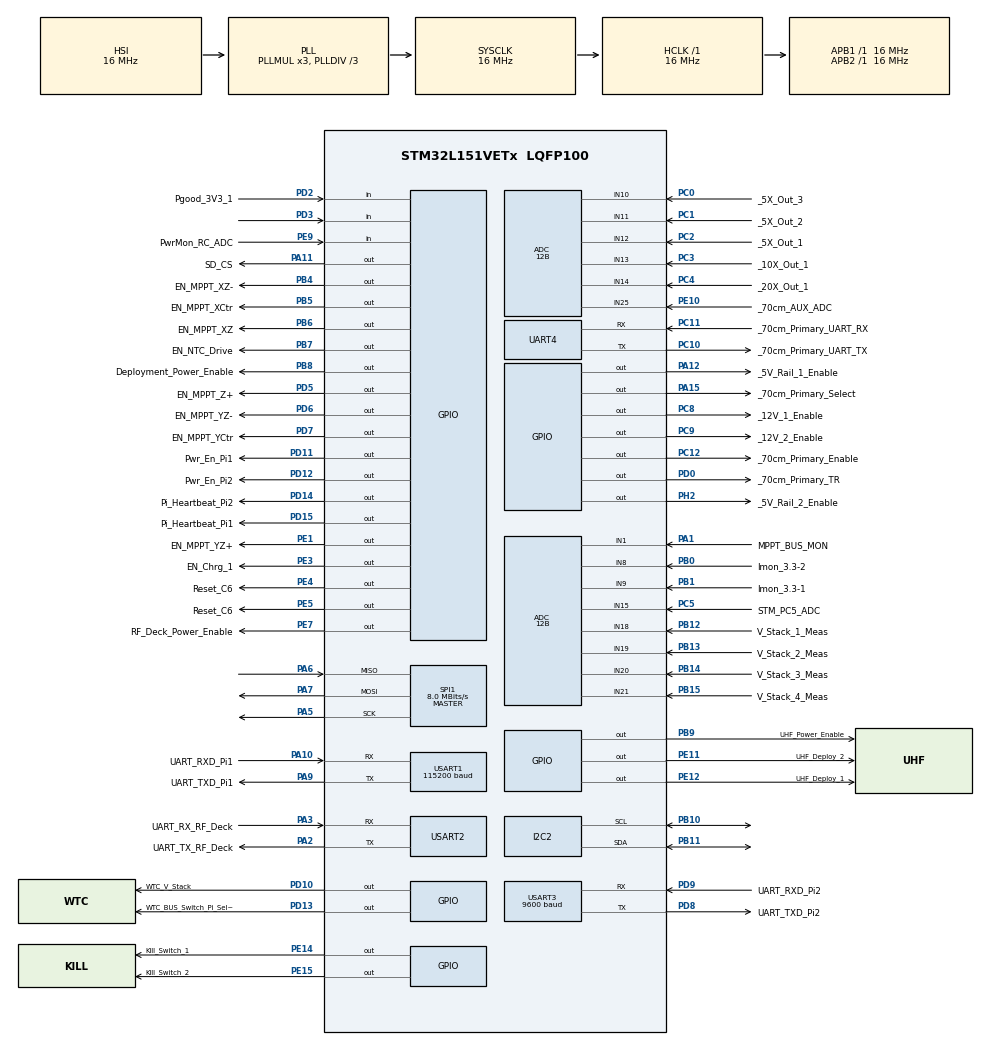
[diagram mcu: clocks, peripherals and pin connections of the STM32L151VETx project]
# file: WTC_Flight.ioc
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ADC.Channel-0\#ChannelRegularConversion=ADC_CHANNEL_10
ADC.ChannelsBank=ADC_CHANNELS_BANK_A
ADC.ClockPrescaler=ADC_CLOCK_ASYNC_DIV1
ADC.ContinuousConvMode=DISABLE
ADC.DMAContinuousRequests=DISABLE
ADC.DataAlign=ADC_DATAALIGN_RIGHT
ADC.DiscontinuousConvMode=DISABLE
ADC.EOCSelection=ADC_EOC_SEQ_CONV
ADC.EnableAnalogWatchDog=false
ADC.ExternalTrigConv=ADC_SOFTWARE_START
ADC.ExternalTrigConvEdge=ADC_EXTERNALTRIGCONVEDGE_NONE
ADC.InjNumberOfConversion=0
ADC.LowPowerAutoPowerOff=ADC_AUTOPOWEROFF_DISABLE
ADC.LowPowerAutoWait=ADC_AUTOWAIT_DISABLE
ADC.NbrOfConversion=1
ADC.NbrOfConversionFlag=1
ADC.Rank-0\#ChannelRegularConversion=1
ADC.Resolution=ADC_RESOLUTION_12B
ADC.SamplingTime-0\#ChannelRegularConversion=ADC_SAMPLETIME_4CYCLES
ADC.ScanConvMode=ADC_SCAN_DISABLE
Dma.Request0=USART1_RX
Dma.Request1=USART1_TX
Dma.Request2=UART4_RX
Dma.Request3=UART4_TX
Dma.UART4_RX.2.Direction=DMA_PERIPH_TO_MEMORY
Dma.UART4_RX.2.Instance=DMA2_Channel3
Dma.UART4_RX.2.MemDataAlignment=DMA_MDATAALIGN_BYTE
Dma.UART4_RX.2.MemInc=DMA_MINC_ENABLE
Dma.UART4_RX.2.Mode=DMA_NORMAL
Dma.UART4_RX.2.PeriphDataAlignment=DMA_PDATAALIGN_BYTE
Dma.UART4_RX.2.PeriphInc=DMA_PINC_DISABLE
Dma.UART4_RX.2.Priority=DMA_PRIORITY_HIGH
Dma.UART4_TX.3.Direction=DMA_MEMORY_TO_PERIPH
Dma.UART4_TX.3.Instance=DMA2_Channel5
Dma.UART4_TX.3.MemDataAlignment=DMA_MDATAALIGN_BYTE
Dma.UART4_TX.3.MemInc=DMA_MINC_ENABLE
Dma.UART4_TX.3.Mode=DMA_NORMAL
Dma.UART4_TX.3.PeriphDataAlignment=DMA_PDATAALIGN_BYTE
Dma.UART4_TX.3.PeriphInc=DMA_PINC_DISABLE
Dma.UART4_TX.3.Priority=DMA_PRIORITY_HIGH
Dma.USART1_RX.0.Direction=DMA_PERIPH_TO_MEMORY
Dma.USART1_RX.0.Instance=DMA1_Channel5
Dma.USART1_RX.0.MemDataAlignment=DMA_MDATAALIGN_BYTE
Dma.USART1_RX.0.MemInc=DMA_MINC_ENABLE
Dma.USART1_RX.0.Mode=DMA_NORMAL
Dma.USART1_RX.0.PeriphDataAlignment=DMA_PDATAALIGN_BYTE
Dma.USART1_RX.0.PeriphInc=DMA_PINC_DISABLE
Dma.USART1_RX.0.Priority=DMA_PRIORITY_LOW
Dma.USART1_TX.1.Direction=DMA_MEMORY_TO_PERIPH
Dma.USART1_TX.1.Instance=DMA1_Channel4
Dma.USART1_TX.1.MemDataAlignment=DMA_MDATAALIGN_BYTE
Dma.USART1_TX.1.MemInc=DMA_MINC_ENABLE
Dma.USART1_TX.1.Mode=DMA_NORMAL
Dma.USART1_TX.1.PeriphDataAlignment=DMA_PDATAALIGN_BYTE
Dma.USART1_TX.1.PeriphInc=DMA_PINC_DISABLE
Dma.USART1_TX.1.Priority=DMA_PRIORITY_LOW
Mcu.Family=STM32L1
Mcu.Name=STM32L151VETx
Mcu.Package=LQFP100
NVIC.DMA1_Channel4_IRQn=true\:0\:0\:false\:false\:true\:false
NVIC.DMA1_Channel5_IRQn=true\:0\:0\:false\:false\:true\:false
NVIC.DMA2_Channel3_IRQn=true\:0\:0\:false\:false\:true\:false
NVIC.DMA2_Channel5_IRQn=true\:0\:0\:false\:false\:true\:false
NVIC.PriorityGroup=NVIC_PRIORITYGROUP_4
NVIC.RTC_Alarm_IRQn=true\:0\:0\:false\:false\:true\:true
NVIC.UART4_IRQn=true\:0\:0\:false\:false\:true\:true
NVIC.USART1_IRQn=true\:0\:0\:false\:false\:true\:true
NVIC.USART3_IRQn=true\:0\:0\:false\:false\:true\:true
PA1.GPIO_Label=MPPT_BUS_MON
PA1.Mode=IN1
PA1.Signal=ADC_IN1
PA10.GPIO_Label=UART_RXD_Pi1
PA10.Mode=Asynchronous
PA10.Signal=USART1_RX
PA11.GPIO_Label=SD_CS
PA11.Signal=GPIO_Output
PA12.GPIO_Label=_5V_Rail_1_Enable
PA12.Signal=GPIO_Output
PA15.GPIO_Label=_70cm_Primary_Select
PA15.Signal=GPIO_Output
PA2.GPIO_Label=UART_TX_RF_Deck
PA2.Mode=Asynchronous
PA2.Signal=USART2_TX
PA3.GPIO_Label=UART_RX_RF_Deck
PA3.Mode=Asynchronous
PA3.Signal=USART2_RX
PA5.Mode=Full_Duplex_Master
PA5.Signal=SPI1_SCK
PA6.GPIO_PuPd=GPIO_PULLUP
PA6.Mode=Full_Duplex_Master
PA6.Signal=SPI1_MISO
PA7.Mode=Full_Duplex_Master
PA7.Signal=SPI1_MOSI
PA9.GPIO_Label=UART_TXD_Pi1
PA9.Mode=Asynchronous
PA9.Signal=USART1_TX
PB0.GPIO_Label=lmon_3.3-2
PB0.Mode=IN8
PB0.Signal=ADC_IN8
PB1.GPIO_Label=lmon_3.3-1
PB1.Mode=IN9
PB1.Signal=ADC_IN9
PB10.Mode=I2C
PB10.Signal=I2C2_SCL
PB11.Mode=I2C
PB11.Signal=I2C2_SDA
PB12.GPIO_Label=V_Stack_1_Meas
PB12.Mode=IN18
PB12.Signal=ADC_IN18
PB13.GPIO_Label=V_Stack_2_Meas
PB13.Mode=IN19
PB13.Signal=ADC_IN19
PB14.GPIO_Label=V_Stack_3_Meas
PB14.Mode=IN20
PB14.Signal=ADC_IN20
PB15.GPIO_Label=V_Stack_4_Meas
PB15.Mode=IN21
PB15.Signal=ADC_IN21
PB4.GPIO_Label=EN_MPPT_XZ-
PB4.Signal=GPIO_Output
PB5.GPIO_Label=EN_MPPT_XCtr
PB5.Signal=GPIO_Output
PB6.GPIO_Label=EN_MPPT_XZ
PB6.Signal=GPIO_Output
PB7.GPIO_Label=EN_NTC_Drive
PB7.Signal=GPIO_Output
PB8.GPIO_Label=Deployment_Power_Enable
PB8.Signal=GPIO_Output
PB9.GPIO_Label=UHF_Power_Enable
PB9.Signal=GPIO_Output
PC0.GPIO_Label=_5X_Out_3
PC0.Mode=IN10
PC0.Signal=ADC_IN10
PC1.GPIO_Label=_5X_Out_2
PC1.Mode=IN11
PC1.Signal=ADC_IN11
PC10.GPIO_Label=_70cm_Primary_UART_TX
PC10.Mode=Asynchronous
PC10.Signal=UART4_TX
PC11.GPIO_Label=_70cm_Primary_UART_RX
PC11.Mode=Asynchronous
PC11.Signal=UART4_RX
PC12.GPIO_Label=_70cm_Primary_Enable
PC12.Signal=GPIO_Output
PC14-OSC32_IN.Mode=LSE-External-Oscillator
PC14-OSC32_IN.Signal=RCC_OSC32_IN
PC15-OSC32_OUT.Mode=LSE-External-Oscillator
PC15-OSC32_OUT.Signal=RCC_OSC32_OUT
PC2.GPIO_Label=_5X_Out_1
PC2.Mode=IN12
PC2.Signal=ADC_IN12
PC3.GPIO_Label=_10X_Out_1
PC3.Mode=IN13
PC3.Signal=ADC_IN13
PC4.GPIO_Label=_20X_Out_1
PC4.Mode=IN14
PC4.Signal=ADC_IN14
PC5.GPIO_Label=STM_PC5_ADC
PC5.Mode=IN15
PC5.Signal=ADC_IN15
PC8.GPIO_Label=_12V_1_Enable
PC8.Signal=GPIO_Output
PC9.GPIO_Label=_12V_2_Enable
PC9.Signal=GPIO_Output
PD0.GPIO_Label=_70cm_Primary_TR
PD0.Signal=GPIO_Output
PD10.GPIO_Label=WTC_V_Stack
PD10.Signal=GPIO_Output
PD11.GPIO_Label=Pwr_En_Pi1
PD11.Signal=GPIO_Output
PD12.GPIO_Label=Pwr_En_Pi2
PD12.Signal=GPIO_Output
PD13.GPIO_Label=WTC_BUS_Switch_Pi_Select
PD13.Signal=GPIO_Output
PD14.GPIO_Label=Pi_Heartbeat_Pi2
PD14.Signal=GPIO_Output
PD15.GPIO_Label=Pi_Heartbeat_Pi1
PD15.Signal=GPIO_Output
PD2.GPIO_Label=Pgood_3V3_1
PD2.Signal=GPIO_Input
PD3.Signal=GPIO_Input
PD5.GPIO_Label=EN_MPPT_Z+
PD5.Signal=GPIO_Output
PD6.GPIO_Label=EN_MPPT_YZ-
PD6.Signal=GPIO_Output
PD7.GPIO_Label=EN_MPPT_YCtr
PD7.Signal=GPIO_Output
PD8.GPIO_Label=UART_TXD_Pi2
PD8.Mode=Asynchronous
PD8.Signal=USART3_TX
PD9.GPIO_Label=UART_RXD_Pi2
PD9.Mode=Asynchronous
PD9.Signal=USART3_RX
PE1.GPIO_Label=EN_MPPT_YZ+
PE1.Signal=GPIO_Output
PE10.GPIO_Label=_70cm_AUX_ADC
PE10.Mode=IN25
PE10.Signal=ADC_IN25
PE11.GPIO_Label=UHF_Deploy_2
PE11.Signal=GPIO_Output
PE12.GPIO_Label=UHF_Deploy_1
PE12.Signal=GPIO_Output
PE14.GPIO_Label=Kill_Switch_1
PE14.Signal=GPIO_Output
PE15.GPIO_Label=Kill_Switch_2
PE15.Signal=GPIO_Output
PE3.GPIO_Label=EN_Chrg_1
PE3.Signal=GPIO_Output
PE4.GPIO_Label=Reset_C6
PE4.Signal=GPIO_Output
PE5.GPIO_Label=Reset_C6
PE5.Signal=GPIO_Output
PE7.GPIO_Label=RF_Deck_Power_Enable
PE7.Signal=GPIO_Output
PE9.GPIO_Label=PwrMon_RC_ADC
PE9.Signal=GPIO_Input
PH2.GPIO_Label=_5V_Rail_2_Enable
PH2.Signal=GPIO_Output
ProjectManager.HeapSize=0x200
ProjectManager.StackSize=0x400
ProjectManager.TargetToolchain=TrueSTUDIO
RCC.AHBFreq_Value=16000000
RCC.APB1Freq_Value=16000000
RCC.APB1TimFreq_Value=16000000
RCC.APB2Freq_Value=16000000
RCC.APB2TimFreq_Value=16000000
RCC.HCLKFreq_Value=16000000
RCC.HSE_VALUE=24000000
RCC.HSI_VALUE=16000000
RCC.MSI_VALUE=2097000
RCC.PLLDIV=RCC_PLL_DIV3
RCC.RTCClockSelection=RCC_RTCCLKSOURCE_LSI
RCC.RTCClockSelectionVirtual=RCC_RTCCLKSOURCE_LSE
RCC.SYSCLKFreq_VALUE=16000000
RCC.SYSCLKSource=RCC_SYSCLKSOURCE_PLLCLK
RCC.VCOOutputFreq_Value=48000000
RTC.Alarm-Alarm\ A=RTC_ALARM_A
RTC.AlarmDateWeekDaySel-Alarm\ A=RTC_ALARMDATEWEEKDAYSEL_WEEKDAY
RTC.AlarmMaskDateWeekDay-Alarm\ A=RTC_ALARMMASK_DATEWEEKDAY
RTC.AlarmMaskHours-Alarm\ A=RTC_ALARMMASK_HOURS
RTC.AlarmMaskMinutes-Alarm\ A=RTC_ALARMMASK_MINUTES
RTC.AlarmMaskSeconds-Alarm\ A=RTC_ALARMMASK_SECONDS
RTC.AlarmSubSecondMask-Alarm\ A=RTC_ALARMSUBSECONDMASK_ALL
RTC.Date=24
RTC.Hours=16
RTC.Minutes=30
RTC.Minutes_A-Alarm\ A=0
RTC.Month=RTC_MONTH_APRIL
RTC.Seconds=0
RTC.Seconds_A-Alarm\ A=0
RTC.WeekDay=RTC_WEEKDAY_TUESDAY
RTC.Year=18
SPI1.CalculateBaudRate=8.0 MBits/s
SPI1.Direction=SPI_DIRECTION_2LINES
SPI1.Mode=SPI_MODE_MASTER
SPI1.VirtualType=VM_MASTER
UART4.VirtualMode=Asynchronous
USART1.BaudRate=115200
USART1.VirtualMode=VM_ASYNC
USART2.VirtualMode=VM_ASYNC
USART3.BaudRate=9600
USART3.VirtualMode=VM_ASYNC
VP_FATFS_VS_Generic.Mode=User_defined
VP_RTC_VS_RTC_Activate.Mode=RTC_Enabled
VP_RTC_VS_RTC_Alarm_A_Intern.Mode=Alarm A
VP_RTC_VS_RTC_Calendar.Mode=RTC_Calendar
board=WTC_Flight

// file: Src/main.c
/**
 ******************************************************************************
 * @file           : main.c
 * @brief          : Main program body
 ******************************************************************************
 * This notice applies to any and all portions of this file
 * that are not between comment pairs USER CODE BEGIN and
 * USER CODE END. Other portions of this file, whether
 * inserted by the user or by software development tools
 * are owned by their respective copyright owners.
 *
 * Copyright (c) 2018 STMicroelectronics International N.V.
 * All rights reserved.
 *
 * Redistribution and use in source and binary forms, with or without
 * modification, are permitted, provided that the following conditions are met:
 *
 * 1. Redistribution of source code must retain the above copyright notice,
 *    this list of conditions and the following disclaimer.
 * 2. Redistributions in binary form must reproduce the above copyright notice,
 *    this list of conditions and the following disclaimer in the documentation
 *    and/or other materials provided with the distribution.
 * 3. Neither the name of STMicroelectronics nor the names of other
 *    contributors to this software may be used to endorse or promote products
 *    derived from this software without specific written permission.
 * 4. This software, including modifications and/or derivative works of this
 *    software, must execute solely and exclusively on microcontroller or
 *    microprocessor devices manufactured by or for STMicroelectronics.
 * 5. Redistribution and use of this software other than as permitted under
 *    this license is void and will automatically terminate your rights under
 *    this license.
 *
 * THIS SOFTWARE IS PROVIDED BY STMICROELECTRONICS AND CONTRIBUTORS "AS IS"
 * AND ANY EXPRESS, IMPLIED OR STATUTORY WARRANTIES, INCLUDING, BUT NOT
 * LIMITED TO, THE IMPLIED WARRANTIES OF MERCHANTABILITY, FITNESS FOR A
 * PARTICULAR PURPOSE AND NON-INFRINGEMENT OF THIRD PARTY INTELLECTUAL PROPERTY
 * RIGHTS ARE DISCLAIMED TO THE FULLEST EXTENT PERMITTED BY LAW. IN NO EVENT
 * SHALL STMICROELECTRONICS OR CONTRIBUTORS BE LIABLE FOR ANY DIRECT, INDIRECT,
 * INCIDENTAL, SPECIAL, EXEMPLARY, OR CONSEQUENTIAL DAMAGES (INCLUDING, BUT NOT
 * LIMITED TO, PROCUREMENT OF SUBSTITUTE GOODS OR SERVICES; LOSS OF USE, DATA,
 * OR PROFITS; OR BUSINESS INTERRUPTION) HOWEVER CAUSED AND ON ANY THEORY OF
 * LIABILITY, WHETHER IN CONTRACT, STRICT LIABILITY, OR TORT (INCLUDING
 * NEGLIGENCE OR OTHERWISE) ARISING IN ANY WAY OUT OF THE USE OF THIS SOFTWARE,
 * EVEN IF ADVISED OF THE POSSIBILITY OF SUCH DAMAGE.
 *
 ******************************************************************************
 */
#include "main.h"
#include "stm32l1xx_hal.h"
#include "adc.h"
#include "dma.h"
#include "fatfs.h"
#include "i2c.h"
#include "rtc.h"
#include "spi.h"
#include "usart.h"
#include "gpio.h"

/* USER CODE BEGIN Includes */
#include <stdlib.h>
#include <string.h>
#include <stdio.h>
#include <stdbool.h>
#include <math.h>
#include <myadc/myadc.h>
#include <myprintf/myprintf.h>
#include <myrtc/myrtc.h>
#include "LTC2991/LTC2991.h"
#include "UART_IRQ/UART_IRQ.h"
#include "command/command.h"
#include "memoryMap/memoryMap.h"
#include "stateMachine/stateMachine.h"
#include "PI_Control/SS_Pi_Comms.h"
#include "PI_Control/commands.h"
#include "stateMachine/comms.h"
#include "mygpio/mygpio.h"

//huart4 is the 70cm primary

/* USER CODE END Includes */

/* USER CODE BEGIN PV */
/* Private variables ---------------------------------------------------------*/
I2C_HandleTypeDef hi2c1;
//RTC_TimeTypeDef sTime;
//RTC_DateTypeDef sDate;
//RTC_AlarmTypeDef sAlarm;
__IO ITStatus UartReady = RESET;
/* USER CODE END PV */

void SystemClock_Config(void);

/* USER CODE BEGIN PFP */
/* Private function prototypes -----------------------------------------------*/

/* USER CODE END PFP */

/* USER CODE BEGIN 0 */
int fgetc(FILE *f) {
	char ch;
	while (__HAL_UART_GET_FLAG(&DEBUG_UART, UART_FLAG_RXNE) == RESET)
		;
	HAL_UART_Receive(&DEBUG_UART, (uint8_t*) &ch, 1, 0xFFFF);
	return ch;
}

size_t __read(int Handle, unsigned char * buf, size_t count) {
	while (__HAL_UART_GET_FLAG(&DEBUG_UART, UART_FLAG_RXNE) == RESET)
		;
	HAL_UART_Receive(&DEBUG_UART, (uint8_t *) buf, count, 0xFFFF);
	return count;
}

//"compiler optimization stuff" - clayton
//"i didn't write it though" - also clayton
#pragma GCC push_options
#pragma GCC optimize ("O3")
#pragma GCC pop_options

void dprint(char* str) {
	int len = strlen(str), i;
	for (i = 0; i < len; i++) {
		ITM_SendChar((uint32_t) str[i]);
		HAL_Delay(500);
	}
}

//uint8_t aRxBuffer[20];
uint8_t aTxStartMessage[] =
		"\n\r ****UART-Hyperterminal communication based on DMA****\n\r Enter 10 characters using keyboard :\n\r";
uint8_t aTxEndMessage[] = "\n\r Example Finished\n\r";
uint8_t atick[] = "\n\r TICK \n\r";

//int8_t packetSize_IT = 128;
//uint8_t aRxBuffer[packetSize_IT];
uint8_t prompt[100] = { };

void HAL_UART_RxCpltCallback(UART_HandleTypeDef *huart) {
//	/* Turn LED2 on: Transfer in reception process is correct */
//	HAL_GPIO_WritePin(_12V_1_Enable_GPIO_Port, _12V_1_Enable_Pin, GPIO_PIN_SET);
//
////	sprintf(prompt, "rdone");
//	HAL_UART_Transmit(&huart1, (uint8_t *) aRxBuffer, (uint16_t) strlen(aRxBuffer), 0xFFFF);
//
//	//check if pi interrupt
//	if (huart == &UART_Pi1 || huart == &UART_Pi2) {
//		;
//	}

	putS(&DEBUG_UART, "got interrupt\r\n");
	UartReady = SET;

	if (huart == &DEBUG_UART) {
		if (HAL_UART_Receive_DMA(huart, (uint8_t *) DMABUFFER, packetSize_IT) != HAL_OK) {
			Error_Handler();
		}
		//print back to console
		sprintf((char*)prompt, "%s\r\n", DMABUFFER);
		putS(&huart4, (char*)prompt);
		//make sure packet is readable
		commsFromGround((uint8_t*)DMABUFFER);
	}
}

void HAL_UART_TxCpltCallback(UART_HandleTypeDef *huart) {

//	//check if pi interrupt
//	if (huart == &UART_Pi1 || huart == &UART_Pi2) {
//		;
//	}
	putS(&DEBUG_UART, "sent interrupt\r\n");
	UartReady = SET;
}

//void HAL_RTC_AlarmIRQHandler(RTC_HandleTypeDef *hrtc) {
//	RTC_TimeShow(prompt);
//	putS(&huart4, prompt);
//}
/**
 * @brief  Alarm callback
 * @param  hrtc : RTC handle
 * @retval None
 */
//void HAL_RTC_AlarmAEventCallback(RTC_HandleTypeDef *hrtc) {
//
//	//change alarm A to next alarm??
//
//	//reset time and date to allow alarmA to be used again
//	RTC_DateTypeDef sdatestructureget;
//	RTC_TimeTypeDef stimestructureget;
//	HAL_RTC_GetTime(hrtc, &stimestructureget, RTC_FORMAT_BIN);
//	HAL_RTC_GetDate(hrtc, &sdatestructureget, RTC_FORMAT_BIN);
//
//	char goo[10] ={};
//	sprintf(goo, "5V %.2f \r\n",10*adcReadSingle(&hadc, 14));
//	adcReadSingle(&hadc, ADC_Channel_70cm_AUX);
////	putS(&DEBUG_UART, goo);
//	//HAL_GPIO_TogglePin(Deployment_Power_Enable_GPIO_Port, Deployment_Power_Enable_Pin);
//	// RTC delay 30min
////	//*** working
////		RTC_DateTypeDef sdatestructureget;
////		RTC_TimeTypeDef stimestructureget;
////		HAL_RTC_GetTime(hrtc, &stimestructureget, RTC_FORMAT_BIN);
////		HAL_RTC_GetDate(hrtc, &sdatestructureget, RTC_FORMAT_BIN);
////
////
//
////HAL_RTC_GetAlarm(hrtc, &fuk, RTC_ALARM_A, RTC_FORMAT_BCD);
////
////		sprintf((char*) prompt, "tick(sec) %02d:%02d:%02d\r\n", stimestructureget.Hours,
////				stimestructureget.Minutes, stimestructureget.Seconds);
////		putS(&huart4, prompt);
////	//working *** //
////	RTC_TimeShow(hrtc, prompt);
////	RTC_TimeShow(prompt);
////	putS(&huart4, (char *) prompt);
////	HAL_GPIO_TogglePin(Deployment_Power_Enable_GPIO_Port, Deployment_Power_Enable_Pin);
////	putS(&huart4,  atick);
//}
/* USER CODE END 0 */

int main(void) {
	/* USER CODE BEGIN 1 */

//	DeployStatusStruct my_deployStruct;
//	DeployStatusStruct *deployStruct = &my_deployStruct;
//	BatteryStatusStruct my_batteryStruct;
//	BatteryStatusStruct *batteryStruct = &my_batteryStruct;
//	WTCStatusStruct my_wtc;
//	WTCStatusStruct *wtc = &my_wtc;
//	DeployStatusStruct deployStruct;
//	BatteryStatusStruct batteryStruct;
//	WTCStatusStruct wtc;
	/* USER CODE END 1 */

	/* MCU Configuration----------------------------------------------------------*/

	/* Reset of all peripherals, Initializes the Flash interface and the Systick. */
	HAL_Init();

	/* USER CODE BEGIN Init */

	HAL_StatusTypeDef hal = HAL_Init();
	if (hal == HAL_ERROR) {

	}

	/* USER CODE END Init */

	/* Configure the system clock */
	SystemClock_Config();

	/* Initialize all configured peripherals */
	MX_GPIO_Init();
	MX_DMA_Init();
	MX_UART4_Init();
	MX_USART1_UART_Init();
	MX_USART2_UART_Init();
	MX_I2C2_Init();
	MX_ADC_Init();
	MX_USART3_UART_Init();
	MX_RTC_Init();
	MX_SPI1_Init();
	MX_FATFS_Init();
	/* USER CODE BEGIN 2 */

	uint8_t packet[128] =
			"|-----------32-BYTES-----------||-----------32-BYTES-----------||-----------32-BYTES-----------||-----------32-BYTES-----------|";
//	uint8_t attempt = 0;
	while (1) {
//		char pdata[20] = "";
		//attempt++;
		//testPiComms(attempt, &huart2, &UART_Pi1);
//		putS(&huart1, "1");
//		HAL_Delay(100);
//		putS(&huart2, "2");
//		HAL_Delay(100);
//		putS(&huart3, "3");;
//		HAL_Delay(100);
//		putS(&huart4, "4");
//		HAL_Delay(100);
//		HAL_UART_Transmit(&UART_Pi1, "OK", 2,1000);
//		//HAL_UART_Receive(&UART_Pi1, pdata, 3,1000);
//		getS(&huart1, pdata,2);
//		HAL_UART_Transmit(&UART_Pi1, "OK", 2,1000);
//		getS(&huart1, pdata,2);
//		HAL_UART_Transmit(&huart2, pdata, 3,1000);
		HAL_Delay(200);
		//SS_GndToPi(1, packet, 0, 0);

		SS_PiToSD(1, packet, 0, 0, 0);
	}

	while (0) {
		HAL_GPIO_WritePin(UHF_Power_Enable_GPIO_Port, UHF_Power_Enable_Pin, GPIO_PIN_SET);
		HAL_Delay(200);
		HAL_GPIO_WritePin(_5V_Rail_1_Enable_GPIO_Port, _5V_Rail_1_Enable_Pin, GPIO_PIN_SET);
		HAL_Delay(200);
		HAL_GPIO_WritePin(_5V_Rail_1_Enable_GPIO_Port, _5V_Rail_2_Enable_Pin, GPIO_PIN_SET);
		HAL_Delay(200);
		//            char *commands[] = {
		//                    "\rES+R2200\r", //
		//                    "\rES+W22003603\r",   //
		//                    "\rES+R2200\r",      //
		//                    "\rES+R2201\r",      //
		//                    "\rES+W2201422F0A42\r", //
		//                    "\rES+W22060000001E\r", //
		//                    "\rES+R2201\r",      //
		//                    "\rES+W220033A3\r"    //
		//                    };

		char *commands[] = { "\rES+R2200\r", //
				"\rES+W22003603\r",   //
				"\rES+R2200\r",      //
				"\rES+R2201\r",      //
				"\rES+W2201422F0A42\r", //
				"\rES+W22060000001E\r", //
				"\rES+R2201\r",      //
				"\rES+W220033A3\r"    //
				};

		uint8_t len = 8; //sizeof(commands) / sizeof(commands[0]);

		char buf[500] = { };
		//sprintf(buf, "len is %d\t\n\n", len);

		int x;
		for (x = 0; x < len; x++) {
			//    sprintf(buf, "SUP %d\r\n", x++);
			putS(&huart4, commands[x]);
			HAL_Delay(100);
			HAL_UART_Receive(&huart4, (uint8_t *) buf, 256, 500);
		}

		for (x = 0; x < 200; x++) {
			HAL_UART_Transmit(&huart4, (uint8_t*)"hellohellohellohello", 20, 1000);
			HAL_Delay(100);
		}

		for (;;) {
			HAL_UART_Receive(&huart4, (uint8_t *) buf, 10, 10000);
			HAL_UART_Transmit(&huart4, (uint8_t*)buf, 10, 1000);
		}

		//            for (;;) {
		//                putS(&huart1, ">");
		//                HAL_UART_Receive(&huart4, (uint8_t *) buf, 50, 1000);
		//                buf[257] = '\0';
		//                putS(&huart1, buf);
		//                putS(&huart1, "<\r\n");
		////                HAL_Delay(100);
		//            }

	}

	HAL_UART_Receive_DMA(&DEBUG_UART, (uint8_t *) DMABUFFER, packetSize_IT);

	for (;;) {
		HAL_Delay(100);
	}
	for (;;) {

		wtcSetup();
	}
	/*##-3- Wait for the end of the transfer ###################################*/
	/* While waiting for message to come from the other board, LED2 is
	 blinking according to the following pattern: a double flash every half-second */

//	putS(&DEBUG_UART, "waiting for interrupt\r\n");
//	while (UartReady != SET)
//	{
//		putS(&DEBUG_UART, "*");
//		HAL_Delay(100);
//		putS(&DEBUG_UART, "*");
//		HAL_Delay(100);
//		putS(&DEBUG_UART, "*");
//		HAL_Delay(100);
//		putS(&DEBUG_UART, "\r\n");
//		HAL_Delay(500);
//	}
//
//	putS(&DEBUG_UART, "interrupt received\r\n");
//	HAL_StatusTypeDef HAL_UART_Transmit_DMA(UART_HandleTypeDef *huart, uint8_t *pData, uint16_t Size);
//	HAL_StatusTypeDef HAL_UART_Receive_DMA(UART_HandleTypeDef *huart, uint8_t *pData, uint16_t Size);
//	for(;;){
//	HAL_GPIO_WritePin(SD_CS_GPIO_Port, SD_CS_Pin, GPIO_PIN_SET);
//	HAL_GPIO_WritePin(GPIOD, GPIO_PIN_4, GPIO_PIN_SET);
////	HAL_GPIO_WritePin(_5V_Rail_1_Enable_GPIO_Port, _5V_Rail_1_Enable_Pin, GPIO_PIN_SET);
//	HAL_Delay(1000);
//	}
//	(uint32_t)0x08080000
	//uint32_t data = gpioStatusRetrieve('A');
	//gpioDump();
	//RTC testing, the rest of main agrees with master branch
//	while (1) {
//		//updateTimeFlash(&hrtc, &sTime, &sDate);
//		data = data;
//		HAL_Delay(500);
//	}
//	LTC2991 *testLtc = initLTC2991(&hi2c2, 0x90);
//	while (1) {
//		HAL_Delay(500);
////		test(testLtc, &USART_PI1);
//		readAllLTC(testLtc, &USART_PI1);
//		readChannelLTC(testLtc, &USART_PI1, 1);
//		readChannelLTC(testLtc, &USART_PI1, 10);
//	}
//	while (1) {
//
//		/*##-2- Start the transmission process #####################################*/
//		/* User start transmission data through "TxBuffer" buffer */
//		if (HAL_UART_Transmit_DMA(&huart1, (uint8_t *) aTxStartMessage,
//				strlen((char *) aTxStartMessage)) != HAL_OK) {
//			/* Transfer error in transmission process */
//			Error_Handler();
//		}
//
//		while (HAL_UART_GetState(&huart1) != HAL_UART_STATE_READY) {
//		}
//
//		sprintf(prompt, "tdone  ");
//		HAL_UART_Transmit(&huart1, (uint8_t *) prompt, (uint16_t) strlen(prompt), 0xFFFF);
//
//		/*##-3- Put UART peripheral in reception process ###########################*/
//		/* Any data received will be stored in "RxBuffer" buffer : the number max of
//		 data received is 10 */
//		if (HAL_UART_Receive_DMA(&huart1, (uint8_t *) aRxBuffer, 10) != HAL_OK) {
//			/* Transfer error in reception process */
//			Error_Handler();
//		}
//
//		sprintf(prompt, "rdone");
//		HAL_UART_Transmit(&huart1, (uint8_t *) prompt, (uint16_t) strlen(prompt), 0xFFFF);
//
//		/* Infinite loop */
//		while (1) {
//		}
//
//	}
	//char lcdstring[50] = "";
	//used for "cmdXX" string
	uint8_t index = 0;
	char *message = "Waiting for command...\n\r";

	//HAL_NVIC_EnableIRQ(RTC_Alarm_IRQn);

//	RTC_TimeShow(&hrtc, prompt);
//	putS(&huart4, prompt);

//HAL_Alarm

//	{
//		HAL_GPIO_WritePin(UHF_Power_Enable_GPIO_Port, UHF_Power_Enable_Pin, GPIO_PIN_SET);
//
//		char *commands[] = {
//				"\rES+R2200\r", //
//				"\rES+W22003603\r",   //
//				"\rES+R2200\r",      //
//				"\rES+R2201\r",      //
//				"\rES+W2201422F0A42\r", //
//				"\rES+W22060000001E\r", //
//				"\rES+R2201\r",      //
//				"\rES+W220033A3\r"    //
//				};
//
//
//		uint8_t len = 8; //sizeof(commands) / sizeof(commands[0]);
//
//		char buf[500];
//		//sprintf(buf, "len is %d\t\n\n", len);
//		//putS(&RF_UART, buf);
//		int x;
//		for (x = 0; x < len; x++) {
//			//    sprintf(buf, "SUP %d\r\n", x++);
//			putS(&UART_RF_PRIMARY, commands[x]);
//			HAL_Delay(100);
//			HAL_UART_Receive(&UART_RF_PRIMARY, (uint8_t *) buf, 256, 1000);
//		}
//
//		for(;;) {
//			putS(&UART_RF_PRIMARY, "hellohellohellohellohellohellohellohellohellohellohellohellohellohellohellohello");
//			HAL_Delay(1000);
//		}
//
//	}

//	for (;;) {
//		  uint8_t Cmd[4] = {0b10101010, 0xFF,0x00,0xFF};
//		  uint8_t data[4] = {0, 0, 0, 0};
//		putS(&DEBUG_UART, "tick\r\n");
//
////		  HAL_GPIO_WritePin(GPIOC, GPIO_PIN_3, GPIO_PIN_RESET);
//		  HAL_SPI_TransmitReceive(&hspi1, Cmd, data, 4, 0xFF);
//		  HAL_Delay(100);
//		  HAL_GPIO_WritePin(GPIOC, GPIO_PIN_3, GPIO_PIN_SET);
//		  D2 = ((uint16_t)data[1] << 16) | ((uint16_t)data[2] << 8) | ((uint16_t)data[3]);
//}

	//gpio port d pin 11 --> d11 is the yellow LED for testing (pwr enable pi 1)
	HAL_GPIO_WritePin(_5V_Rail_1_Enable_GPIO_Port, _5V_Rail_1_Enable_Pin, GPIO_PIN_SET);
	HAL_GPIO_WritePin(_5V_Rail_2_Enable_GPIO_Port, _5V_Rail_2_Enable_Pin, GPIO_PIN_SET);
	HAL_GPIO_WritePin(Pwr_En_Pi1_GPIO_Port, Pwr_En_Pi1_Pin, GPIO_PIN_SET);
	HAL_GPIO_WritePin(WTC_BUS_Switch_Pi_Select_GPIO_Port, WTC_BUS_Switch_Pi_Select_Pin,
			GPIO_PIN_SET);

	for (;;) {
		char aRxBuffer[20] = "";

//		//tx "Waiting for command..."
		char prompt[100] = { };
		putS(&DEBUG_UART, message);

		sprintf((char*) prompt, "cmd%d%d:", (index / 10), ((index % 10)));
		putS(&DEBUG_UART, prompt);

		//		read in two character command
		getS(&DEBUG_UART, aRxBuffer, 2);

		if (strcmp((char *) aRxBuffer, "dw") == 0)
			dw(&DEBUG_UART);
		else if (strcmp((char *) aRxBuffer, "dr") == 0)
			dr(&DEBUG_UART);
		else if (strcmp((char *) aRxBuffer, "aw") == 0)
			aw(&DEBUG_UART);
		else if (strcmp((char *) aRxBuffer, "ar") == 0)
			ar(&DEBUG_UART, &hadc);
		else if (strcmp((char *) aRxBuffer, "tt") == 0)
			tt(&DEBUG_UART, &huart2);
		else if (strcmp((char *) aRxBuffer, "ks") == 0)
			ks(&DEBUG_UART);
		else if (strcmp((char *) aRxBuffer, "ce") == 0)
			HAL_GPIO_TogglePin(EN_Chrg_1_GPIO_Port, EN_Chrg_1_Pin);
#ifndef SD_CS_Pin // TODO: fix hackish QPace/SurfSat switch
		else if (strcmp((char *) aRxBuffer, "cc") == 0)
		HAL_GPIO_TogglePin(DAC_REF_Chrg_GPIO_Port, DAC_REF_Chrg_Pin);
#endif
		else if (strcmp((char *) aRxBuffer, "lt") == 0)
			ltc(&hi2c2, &DEBUG_UART);
		else if (strcmp((char *) aRxBuffer, "dp") == 0)
			wtcSetup(&deployStruct);
		else if (strcmp((char *) aRxBuffer, "5o") == 0) {
			HAL_GPIO_WritePin(_5V_Rail_1_Enable_GPIO_Port, _5V_Rail_1_Enable_Pin, GPIO_PIN_SET);
			HAL_GPIO_WritePin(_5V_Rail_2_Enable_GPIO_Port, _5V_Rail_2_Enable_Pin, GPIO_PIN_SET);
		} else if (strcmp((char *) aRxBuffer, "5f") == 0) {
			HAL_GPIO_WritePin(_5V_Rail_1_Enable_GPIO_Port, _5V_Rail_1_Enable_Pin, GPIO_PIN_RESET);
			HAL_GPIO_WritePin(_5V_Rail_2_Enable_GPIO_Port, _5V_Rail_2_Enable_Pin, GPIO_PIN_RESET);
		} else if (strcmp((char *) aRxBuffer, "p1") == 0) {
			HAL_GPIO_TogglePin(Pwr_En_Pi1_GPIO_Port, Pwr_En_Pi1_Pin);
			HAL_GPIO_WritePin(WTC_BUS_Switch_Pi_Select_GPIO_Port, WTC_BUS_Switch_Pi_Select_Pin,
					GPIO_PIN_SET);
		} else if (strcmp((char *) aRxBuffer, "p2") == 0) {
			HAL_GPIO_TogglePin(Pwr_En_Pi2_GPIO_Port, Pwr_En_Pi2_Pin);
			HAL_GPIO_WritePin(WTC_BUS_Switch_Pi_Select_GPIO_Port, WTC_BUS_Switch_Pi_Select_Pin,
					GPIO_PIN_RESET);
		} else if (strcmp((char *) aRxBuffer, "t1") == 0) {
			putS(&DEBUG_UART, "t1\r\n");
			sprintf((char*) prompt, "foobar");

			putS(&UART_Pi1, prompt);
			putS(&DEBUG_UART, "sent to pix \r\n\t");
			HAL_UART_Receive(&UART_Pi1, (uint8_t *) aRxBuffer, 6, 10000);
//			getS(&UART_Pi1, aRxBuffer, 6);
			putS(&DEBUG_UART, aRxBuffer);
		} else if (strcmp((char *) aRxBuffer, "t2") == 0) {
			putS(&DEBUG_UART, "t2\r\n");
			sprintf((char*) prompt, "foobar");
			putS(&UART_Pi2, prompt);
			putS(&DEBUG_UART, "sent to pix \r\n\t");
			HAL_UART_Receive(&UART_Pi2, (uint8_t *) aRxBuffer, 5, 10000);
//			getS(&UART_Pi2, aRxBuffer, 6);
			int q = 0;
			for (q = 0; q < 5; q++) {
				sprintf((char*) prompt, "%x ", aRxBuffer[q]);
				putS(&DEBUG_UART, prompt);
			}
			putS(&DEBUG_UART, aRxBuffer);
		} else {
			sprintf((char*) prompt, "??\r\n");
			putS(&DEBUG_UART, prompt);
		}

//		//print new line
		sprintf((char*) prompt, "\r\n");
		putS(&DEBUG_UART, prompt);

		//increment main forloop index, numbering of command sent.
		index++;
		if (index >= 100)
			index = 0;
	}
	/* USER CODE END 2 */

	/* Infinite loop */
	/* USER CODE BEGIN WHILE */
	while (1) {

		/*******
		 * JON START HERE
		 */

//		if (HAL_FLASHEx_DATAEEPROM_Unlock() == HAL_OK) // Remember to unlock the EEPROM before using
//				{
//			//		  HAL_FLASHEx_DATAEEPROM_Program(FLASH_TYPEPROGRAMDATA_WORD,0x08080000,555); //Write: Type, Address, Data
//			uint32_t data_in = *(uint32_t *) 0x08080000; //Read: Cast the address as a uint32_t pointer and dereference it
//			HAL_FLASHEx_DATAEEPROM_Lock(); //Lock when done? (Not sure if necessary)
//		}
		/*******
		 * JON END HERE
		 */
	}
	/* USER CODE END WHILE */

	/* USER CODE BEGIN 3 */
	for (;;) {

//	  HAL_ADC
		HAL_ADC_Start(&hadc);
		HAL_ADC_PollForConversion(&hadc, 100);
		uint32_t val = HAL_ADC_GetValue(&hadc);
		UNUSED(val);

//		float val2 = adcToVoltage(&hadc);
//		UNUSED(val2);
		HAL_ADC_Stop(&hadc);
//	  EN_Chrg_1_GPIO_Port
	}

	/* USER CODE END 3 */

}

void SystemClock_Config(void) {

	RCC_OscInitTypeDef RCC_OscInitStruct;
	RCC_ClkInitTypeDef RCC_ClkInitStruct;
	RCC_PeriphCLKInitTypeDef PeriphClkInit;

	/**Configure the main internal regulator output voltage
	 */
	__HAL_PWR_VOLTAGESCALING_CONFIG(PWR_REGULATOR_VOLTAGE_SCALE1);

	/**Initializes the CPU, AHB and APB busses clocks
	 */
	RCC_OscInitStruct.OscillatorType = RCC_OSCILLATORTYPE_HSI | RCC_OSCILLATORTYPE_LSI;
	RCC_OscInitStruct.HSIState = RCC_HSI_ON;
	RCC_OscInitStruct.HSICalibrationValue = 16;
	RCC_OscInitStruct.LSIState = RCC_LSI_ON;
	RCC_OscInitStruct.PLL.PLLState = RCC_PLL_ON;
	RCC_OscInitStruct.PLL.PLLSource = RCC_PLLSOURCE_HSI;
	RCC_OscInitStruct.PLL.PLLMUL = RCC_PLL_MUL3;
	RCC_OscInitStruct.PLL.PLLDIV = RCC_PLL_DIV3;
	if (HAL_RCC_OscConfig(&RCC_OscInitStruct) != HAL_OK) {
		_Error_Handler(__FILE__, __LINE__);
	}

	/**Initializes the CPU, AHB and APB busses clocks
	 */
	RCC_ClkInitStruct.ClockType = RCC_CLOCKTYPE_HCLK | RCC_CLOCKTYPE_SYSCLK | RCC_CLOCKTYPE_PCLK1
			| RCC_CLOCKTYPE_PCLK2;
	RCC_ClkInitStruct.SYSCLKSource = RCC_SYSCLKSOURCE_PLLCLK;
	RCC_ClkInitStruct.AHBCLKDivider = RCC_SYSCLK_DIV1;
	RCC_ClkInitStruct.APB1CLKDivider = RCC_HCLK_DIV1;
	RCC_ClkInitStruct.APB2CLKDivider = RCC_HCLK_DIV1;

	if (HAL_RCC_ClockConfig(&RCC_ClkInitStruct, FLASH_LATENCY_0) != HAL_OK) {
		_Error_Handler(__FILE__, __LINE__);
	}

	PeriphClkInit.PeriphClockSelection = RCC_PERIPHCLK_RTC;
	PeriphClkInit.RTCClockSelection = RCC_RTCCLKSOURCE_LSI;
	if (HAL_RCCEx_PeriphCLKConfig(&PeriphClkInit) != HAL_OK) {
		_Error_Handler(__FILE__, __LINE__);
	}

	/**Configure the Systick interrupt time
	 */
	HAL_SYSTICK_Config(HAL_RCC_GetHCLKFreq() / 1000);

	/**Configure the Systick
	 */
	HAL_SYSTICK_CLKSourceConfig(SYSTICK_CLKSOURCE_HCLK);

	/* SysTick_IRQn interrupt configuration */
	HAL_NVIC_SetPriority(SysTick_IRQn, 0, 0);
}

void _Error_Handler(char *file, int line) {
	while (1) {
	}
}

/************************ (C) COPYRIGHT STMicroelectronics *****END OF FILE****/
